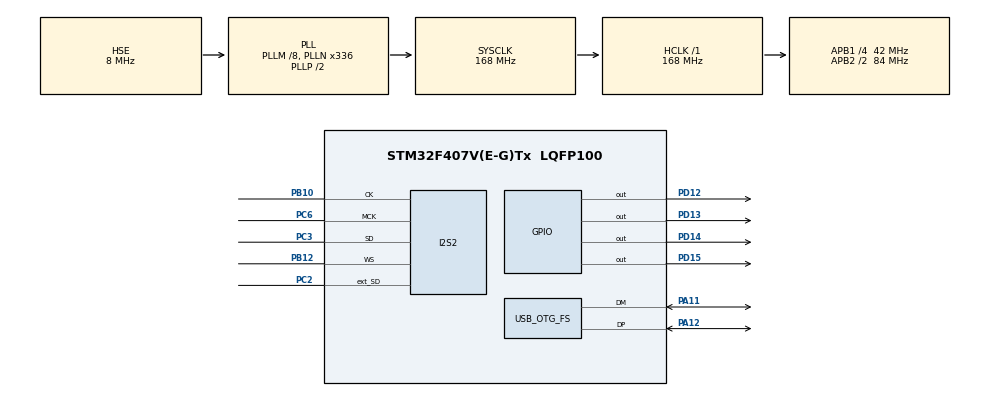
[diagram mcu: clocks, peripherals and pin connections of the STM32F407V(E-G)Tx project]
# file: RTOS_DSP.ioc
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Dma.I2S2_EXT_RX.0.Direction=DMA_PERIPH_TO_MEMORY
Dma.I2S2_EXT_RX.0.FIFOMode=DMA_FIFOMODE_DISABLE
Dma.I2S2_EXT_RX.0.Instance=DMA1_Stream3
Dma.I2S2_EXT_RX.0.MemDataAlignment=DMA_MDATAALIGN_HALFWORD
Dma.I2S2_EXT_RX.0.MemInc=DMA_MINC_ENABLE
Dma.I2S2_EXT_RX.0.Mode=DMA_CIRCULAR
Dma.I2S2_EXT_RX.0.PeriphDataAlignment=DMA_PDATAALIGN_HALFWORD
Dma.I2S2_EXT_RX.0.PeriphInc=DMA_PINC_DISABLE
Dma.I2S2_EXT_RX.0.Priority=DMA_PRIORITY_VERY_HIGH
Dma.MEMTOMEM.2.Direction=DMA_MEMORY_TO_MEMORY
Dma.MEMTOMEM.2.FIFOMode=DMA_FIFOMODE_ENABLE
Dma.MEMTOMEM.2.FIFOThreshold=DMA_FIFO_THRESHOLD_FULL
Dma.MEMTOMEM.2.Instance=DMA2_Stream0
Dma.MEMTOMEM.2.MemBurst=DMA_MBURST_SINGLE
Dma.MEMTOMEM.2.MemDataAlignment=DMA_MDATAALIGN_BYTE
Dma.MEMTOMEM.2.MemInc=DMA_MINC_ENABLE
Dma.MEMTOMEM.2.Mode=DMA_NORMAL
Dma.MEMTOMEM.2.PeriphBurst=DMA_PBURST_SINGLE
Dma.MEMTOMEM.2.PeriphDataAlignment=DMA_PDATAALIGN_BYTE
Dma.MEMTOMEM.2.PeriphInc=DMA_PINC_ENABLE
Dma.MEMTOMEM.2.Priority=DMA_PRIORITY_MEDIUM
Dma.Request0=I2S2_EXT_RX
Dma.Request1=SPI2_TX
Dma.Request2=MEMTOMEM
Dma.SPI2_TX.1.Direction=DMA_MEMORY_TO_PERIPH
Dma.SPI2_TX.1.FIFOMode=DMA_FIFOMODE_DISABLE
Dma.SPI2_TX.1.Instance=DMA1_Stream4
Dma.SPI2_TX.1.MemDataAlignment=DMA_MDATAALIGN_HALFWORD
Dma.SPI2_TX.1.MemInc=DMA_MINC_ENABLE
Dma.SPI2_TX.1.Mode=DMA_CIRCULAR
Dma.SPI2_TX.1.PeriphDataAlignment=DMA_PDATAALIGN_HALFWORD
Dma.SPI2_TX.1.PeriphInc=DMA_PINC_DISABLE
Dma.SPI2_TX.1.Priority=DMA_PRIORITY_VERY_HIGH
FREERTOS.Mutexes01=CDC_TxMutex,Dynamic,NULL;CDC_RxMutex,Dynamic,NULL
FREERTOS.Tasks01=SER_UI_task,24,1024,TASK_SER_UI,Default,NULL,Dynamic,NULL,NULL;AP_task,24,1024,TASK_AP,Default,NULL,Dynamic,NULL,NULL
FREERTOS.configENABLE_FPU=1
FREERTOS.configLIBRARY_MAX_SYSCALL_INTERRUPT_PRIORITY=10
FREERTOS.configMAX_TASK_NAME_LEN=16
FREERTOS.configMINIMAL_STACK_SIZE=128
FREERTOS.configQUEUE_REGISTRY_SIZE=8
FREERTOS.configTOTAL_HEAP_SIZE=15360
FREERTOS.configUSE_NEWLIB_REENTRANT=1
I2S2.AudioFreq=I2S_AUDIOFREQ_96K
I2S2.DataFormat=I2S_DATAFORMAT_24B
I2S2.ErrorAudioFreq=-2.34 %
I2S2.FullDuplexMode=I2S_FULLDUPLEXMODE_ENABLE
I2S2.Instance=SPI$Index
I2S2.RealAudioFreq=93.75 KHz
I2S2.VirtualMode=I2S_MODE_MASTER
Mcu.Family=STM32F4
Mcu.Name=STM32F407V(E-G)Tx
Mcu.Package=LQFP100
NVIC.DMA1_Stream3_IRQn=true\:10\:0\:true\:false\:true\:true\:true\:true\:true
NVIC.DMA1_Stream4_IRQn=true\:10\:0\:false\:false\:true\:true\:true\:true\:true
NVIC.OTG_FS_IRQn=true\:10\:0\:true\:false\:true\:true\:false\:true\:true
NVIC.PriorityGroup=NVIC_PRIORITYGROUP_4
NVIC.SPI2_IRQn=true\:10\:0\:false\:false\:true\:true\:true\:true\:true
NVIC.TIM6_DAC_IRQn=true\:0\:0\:false\:false\:true\:false\:false\:true\:true
NVIC.TimeBase=TIM6_DAC_IRQn
NVIC.TimeBaseIP=TIM6
PA11.Mode=Device_Only
PA11.Signal=USB_OTG_FS_DM
PA12.Mode=Device_Only
PA12.Signal=USB_OTG_FS_DP
PA13.Mode=Serial_Wire
PA13.Signal=SYS_JTMS-SWDIO
PA14.Mode=Serial_Wire
PA14.Signal=SYS_JTCK-SWCLK
PB10.Mode=Full_Duplex_Master
PB10.Signal=I2S2_CK
PB12.Mode=Full_Duplex_Master
PB12.Signal=I2S2_WS
PC2.Mode=Full_Duplex_Master
PC2.Signal=I2S2_ext_SD
PC3.Mode=Full_Duplex_Master
PC3.Signal=I2S2_SD
PC6.Mode=Master_Clock_Activated
PC6.Signal=I2S2_MCK
PD12.Signal=GPIO_Output
PD13.Signal=GPIO_Output
PD14.Signal=GPIO_Output
PD15.Signal=GPIO_Output
PH0-OSC_IN.Mode=HSE-External-Oscillator
PH0-OSC_IN.Signal=RCC_OSC_IN
PH1-OSC_OUT.Mode=HSE-External-Oscillator
PH1-OSC_OUT.Signal=RCC_OSC_OUT
ProjectManager.HeapSize=0x200
ProjectManager.StackSize=0x400
ProjectManager.TargetToolchain=STM32CubeIDE
RCC.48MHZClocksFreq_Value=48000000
RCC.AHBFreq_Value=168000000
RCC.APB1CLKDivider=RCC_HCLK_DIV4
RCC.APB1Freq_Value=42000000
RCC.APB1TimFreq_Value=84000000
RCC.APB2CLKDivider=RCC_HCLK_DIV2
RCC.APB2Freq_Value=84000000
RCC.APB2TimFreq_Value=168000000
RCC.CortexFreq_Value=168000000
RCC.HCLKFreq_Value=168000000
RCC.HSE_VALUE=8000000
RCC.HSI_VALUE=16000000
RCC.LSE_VALUE=32768
RCC.PLLM=8
RCC.PLLN=336
RCC.PLLQ=7
RCC.SYSCLKFreq_VALUE=168000000
RCC.SYSCLKSource=RCC_SYSCLKSOURCE_PLLCLK
RCC.VCOOutputFreq_Value=336000000
USB_DEVICE.APP_RX_DATA_SIZE-CDC_FS=256
USB_DEVICE.APP_TX_DATA_SIZE-CDC_FS=256
USB_DEVICE.CLASS_NAME_FS=CDC
USB_DEVICE.USBD_SELF_POWERED-CDC_FS=1
USB_DEVICE.VirtualMode-CDC_FS=Cdc
USB_DEVICE.VirtualModeFS=Cdc_FS
USB_OTG_FS.VirtualMode=Device_Only
VP_FREERTOS_VS_CMSIS_V2.Mode=CMSIS_V2
VP_SYS_VS_tim6.Mode=TIM6
VP_USB_DEVICE_VS_USB_DEVICE_CDC_FS.Mode=CDC_FS
board=custom

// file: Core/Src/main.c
/* USER CODE BEGIN Header */
/**
  ******************************************************************************
  * @file           : main.c
  * @brief          : Main program body
  ******************************************************************************
  * @attention
  *
  * <h2><center>&copy; Copyright (c) 2021 STMicroelectronics.
  * All rights reserved.</center></h2>
  *
  * This software component is licensed by ST under BSD 3-Clause license,
  * the "License"; You may not use this file except in compliance with the
  * License. You may obtain a copy of the License at:
  *                        opensource.org/licenses/BSD-3-Clause
  *
  ******************************************************************************
  */
/* USER CODE END Header */
#include "main.h"
#include "cmsis_os.h"
#include "usb_device.h"

/* USER CODE BEGIN Includes */
#include "usbd_cdc_if.h"
#include "pmodI2S2.h"
#include <string.h>
#include <stdint.h>
#include <stdlib.h>
#include <queue.h>
#include <semphr.h>
#include <serial_com.h>
#include "audio_proc.h"
/* USER CODE END Includes */

 I2S_HandleTypeDef hi2s2;
DMA_HandleTypeDef hdma_i2s2_ext_rx;
DMA_HandleTypeDef hdma_spi2_tx;

DMA_HandleTypeDef hdma_memtomem_dma2_stream0;
/* Definitions for SER_UI_task */
osThreadId_t SER_UI_taskHandle;
const osThreadAttr_t SER_UI_task_attributes = {
  .name = "SER_UI_task",
  .stack_size = 1024 * 4,
  .priority = (osPriority_t) osPriorityNormal,
};
/* Definitions for AP_task */
osThreadId_t AP_taskHandle;
const osThreadAttr_t AP_task_attributes = {
  .name = "AP_task",
  .stack_size = 1024 * 4,
  .priority = (osPriority_t) osPriorityNormal,
};
/* Definitions for CDC_TxMutex */
osMutexId_t CDC_TxMutexHandle;
const osMutexAttr_t CDC_TxMutex_attributes = {
  .name = "CDC_TxMutex"
};
/* Definitions for CDC_RxMutex */
osMutexId_t CDC_RxMutexHandle;
const osMutexAttr_t CDC_RxMutex_attributes = {
  .name = "CDC_RxMutex"
};
/* USER CODE BEGIN PV */
uint16_t I2S2_txBuf[I2S2_BUFLEN]; 					// I2S2 rxBuffer for PmodI2S2
uint16_t I2S2_rxBuf[I2S2_BUFLEN]; 					// I2S2 txBuffer for PmodI2S2
/* USER CODE END PV */

void SystemClock_Config(void);
static void MX_GPIO_Init(void);
static void MX_DMA_Init(void);
static void MX_I2S2_Init(void);
void TASK_SER_UI(void *argument);
void TASK_AP(void *argument);

int main(void)
{

  /* MCU Configuration--------------------------------------------------------*/

  /* Reset of all peripherals, Initializes the Flash interface and the Systick. */
  HAL_Init();

  /* Configure the system clock */
  SystemClock_Config();

  /* Initialize all configured peripherals */
  MX_GPIO_Init();
  MX_DMA_Init();
  MX_I2S2_Init();
  /* USER CODE BEGIN 2 */
  HAL_I2SEx_TransmitReceive_DMA(&hi2s2, I2S2_txBuf, I2S2_rxBuf, I2S2_BUFLEN/2);
  /* USER CODE END 2 */

  /* Init scheduler */
  osKernelInitialize();
  /* Create the mutex(es) */
  /* creation of CDC_TxMutex */
  CDC_TxMutexHandle = osMutexNew(&CDC_TxMutex_attributes);

  /* creation of CDC_RxMutex */
  CDC_RxMutexHandle = osMutexNew(&CDC_RxMutex_attributes);

  /* Create the thread(s) */
  /* creation of SER_UI_task */
  SER_UI_taskHandle = osThreadNew(TASK_SER_UI, NULL, &SER_UI_task_attributes);

  /* creation of AP_task */
  AP_taskHandle = osThreadNew(TASK_AP, NULL, &AP_task_attributes);

  /* Start scheduler */
  osKernelStart();

  /* We should never get here as control is now taken by the scheduler */
  /* Infinite loop */
  while (1)
  {

  }
}

void SystemClock_Config(void)
{
  RCC_OscInitTypeDef RCC_OscInitStruct = {0};
  RCC_ClkInitTypeDef RCC_ClkInitStruct = {0};

  /** Configure the main internal regulator output voltage
  */
  __HAL_RCC_PWR_CLK_ENABLE();
  __HAL_PWR_VOLTAGESCALING_CONFIG(PWR_REGULATOR_VOLTAGE_SCALE1);

  /** Initializes the RCC Oscillators according to the specified parameters
  * in the RCC_OscInitTypeDef structure.
  */
  RCC_OscInitStruct.OscillatorType = RCC_OSCILLATORTYPE_HSE;
  RCC_OscInitStruct.HSEState = RCC_HSE_ON;
  RCC_OscInitStruct.PLL.PLLState = RCC_PLL_ON;
  RCC_OscInitStruct.PLL.PLLSource = RCC_PLLSOURCE_HSE;
  RCC_OscInitStruct.PLL.PLLM = 8;
  RCC_OscInitStruct.PLL.PLLN = 336;
  RCC_OscInitStruct.PLL.PLLP = RCC_PLLP_DIV2;
  RCC_OscInitStruct.PLL.PLLQ = 7;
  if (HAL_RCC_OscConfig(&RCC_OscInitStruct) != HAL_OK)
  {
    Error_Handler();
  }

  /** Initializes the CPU, AHB and APB buses clocks
  */
  RCC_ClkInitStruct.ClockType = RCC_CLOCKTYPE_HCLK|RCC_CLOCKTYPE_SYSCLK
                              |RCC_CLOCKTYPE_PCLK1|RCC_CLOCKTYPE_PCLK2;
  RCC_ClkInitStruct.SYSCLKSource = RCC_SYSCLKSOURCE_PLLCLK;
  RCC_ClkInitStruct.AHBCLKDivider = RCC_SYSCLK_DIV1;
  RCC_ClkInitStruct.APB1CLKDivider = RCC_HCLK_DIV4;
  RCC_ClkInitStruct.APB2CLKDivider = RCC_HCLK_DIV2;

  if (HAL_RCC_ClockConfig(&RCC_ClkInitStruct, FLASH_LATENCY_5) != HAL_OK)
  {
    Error_Handler();
  }
}

static void MX_I2S2_Init(void)
{

  hi2s2.Instance = SPI2;
  hi2s2.Init.Mode = I2S_MODE_MASTER_TX;
  hi2s2.Init.Standard = I2S_STANDARD_PHILIPS;
  hi2s2.Init.DataFormat = I2S_DATAFORMAT_24B;
  hi2s2.Init.MCLKOutput = I2S_MCLKOUTPUT_ENABLE;
  hi2s2.Init.AudioFreq = I2S_AUDIOFREQ_96K;
  hi2s2.Init.CPOL = I2S_CPOL_LOW;
  hi2s2.Init.ClockSource = I2S_CLOCK_PLL;
  hi2s2.Init.FullDuplexMode = I2S_FULLDUPLEXMODE_ENABLE;
  if (HAL_I2S_Init(&hi2s2) != HAL_OK)
  {
    Error_Handler();
  }

}

static void MX_DMA_Init(void)
{

  /* DMA controller clock enable */
  __HAL_RCC_DMA1_CLK_ENABLE();
  __HAL_RCC_DMA2_CLK_ENABLE();

  /* Configure DMA request hdma_memtomem_dma2_stream0 on DMA2_Stream0 */
  hdma_memtomem_dma2_stream0.Instance = DMA2_Stream0;
  hdma_memtomem_dma2_stream0.Init.Channel = DMA_CHANNEL_0;
  hdma_memtomem_dma2_stream0.Init.Direction = DMA_MEMORY_TO_MEMORY;
  hdma_memtomem_dma2_stream0.Init.PeriphInc = DMA_PINC_ENABLE;
  hdma_memtomem_dma2_stream0.Init.MemInc = DMA_MINC_ENABLE;
  hdma_memtomem_dma2_stream0.Init.PeriphDataAlignment = DMA_PDATAALIGN_BYTE;
  hdma_memtomem_dma2_stream0.Init.MemDataAlignment = DMA_MDATAALIGN_BYTE;
  hdma_memtomem_dma2_stream0.Init.Mode = DMA_NORMAL;
  hdma_memtomem_dma2_stream0.Init.Priority = DMA_PRIORITY_MEDIUM;
  hdma_memtomem_dma2_stream0.Init.FIFOMode = DMA_FIFOMODE_ENABLE;
  hdma_memtomem_dma2_stream0.Init.FIFOThreshold = DMA_FIFO_THRESHOLD_FULL;
  hdma_memtomem_dma2_stream0.Init.MemBurst = DMA_MBURST_SINGLE;
  hdma_memtomem_dma2_stream0.Init.PeriphBurst = DMA_PBURST_SINGLE;
  if (HAL_DMA_Init(&hdma_memtomem_dma2_stream0) != HAL_OK)
  {
    Error_Handler( );
  }

  /* DMA interrupt init */
  /* DMA1_Stream3_IRQn interrupt configuration */
  HAL_NVIC_SetPriority(DMA1_Stream3_IRQn, 10, 0);
  HAL_NVIC_EnableIRQ(DMA1_Stream3_IRQn);
  /* DMA1_Stream4_IRQn interrupt configuration */
  HAL_NVIC_SetPriority(DMA1_Stream4_IRQn, 10, 0);
  HAL_NVIC_EnableIRQ(DMA1_Stream4_IRQn);

}

static void MX_GPIO_Init(void)
{
  GPIO_InitTypeDef GPIO_InitStruct = {0};

  /* GPIO Ports Clock Enable */
  __HAL_RCC_GPIOH_CLK_ENABLE();
  __HAL_RCC_GPIOC_CLK_ENABLE();
  __HAL_RCC_GPIOB_CLK_ENABLE();
  __HAL_RCC_GPIOD_CLK_ENABLE();
  __HAL_RCC_GPIOA_CLK_ENABLE();

  /*Configure GPIO pin Output Level */
  HAL_GPIO_WritePin(GPIOD, GPIO_PIN_12|GPIO_PIN_13|GPIO_PIN_14|GPIO_PIN_15, GPIO_PIN_RESET);

  /*Configure GPIO pins : PD12 PD13 PD14 PD15 */
  GPIO_InitStruct.Pin = GPIO_PIN_12|GPIO_PIN_13|GPIO_PIN_14|GPIO_PIN_15;
  GPIO_InitStruct.Mode = GPIO_MODE_OUTPUT_PP;
  GPIO_InitStruct.Pull = GPIO_NOPULL;
  GPIO_InitStruct.Speed = GPIO_SPEED_FREQ_LOW;
  HAL_GPIO_Init(GPIOD, &GPIO_InitStruct);

}

/* USER CODE BEGIN Header_TASK_SER_UI */
/**
  * @brief  Function implementing the UI_task thread.
  * @param  argument: Not used
  * @retval None
  */
extern const SER_cmdStruct cmdStructTab[N_CMD];
extern _Bool HOST_PORT_COM_OPEN;
/* USER CODE END Header_TASK_SER_UI */
void TASK_SER_UI(void *argument)
{
  /* init code for USB_DEVICE */
  MX_USB_DEVICE_Init();
  /* USER CODE BEGIN 5 */
  uint32_t cmd;
  char args[64];

  osDelay(1000);
  SER_clear();
  _printf("\r\n               ####################\r\n");
  _printf("               ## RTOS DSP v%d.%02d ##\r\n", MAJ_VERSION, MIN_VERSION);
  _printf("               ####################\r\n\n");

  /* Infinite loop */
  _printd("TASK_SER_UI started.\r\n");
  for(;;)
  {
		/* Wait until port com is open */
	  	while(!HOST_PORT_COM_OPEN)
	  	{
	  		HAL_GPIO_WritePin(GPIOD, GPIO_PIN_15, GPIO_PIN_RESET);
	  		osDelay(500);
	  	}

	  	/* Check for command and flush */
	  	if((cmd = SER_getCmd(cmdStructTab, N_CMD, args)) != N_CMD)
	  	{	cmdStructTab[cmd].ExecFunction(args);
	  	}
	  	SER_flush();

	  	HAL_GPIO_WritePin(GPIOD, GPIO_PIN_15, GPIO_PIN_SET);
  }

  /* Exit Task */
  _printd("/!\\ Killing TASK_SER_UI !\r\n");
  osThreadTerminate(NULL);

  /* USER CODE END 5 */
}

/* USER CODE BEGIN Header_TASK_AP */
/**
* @brief Function implementing the AP_task thread.
* @param argument: Not used
* @retval None
*/
extern const uint8_t (*ExecAudioProcessing[AP_NTASK])(void);
/* USER CODE END Header_TASK_AP */
void TASK_AP(void *argument)
{
  /* USER CODE BEGIN TASK_AP */
	osDelay(1500);
	AP_initTask();

  /* Infinite loop */
	_printd("TASK_AP started.\r\n");
	for(;;)
	{
		ExecAudioProcessing[AP_getTask()]();
		HAL_GPIO_TogglePin(GPIOD, GPIO_PIN_12);
	}

	/* Exit Task */
	_printd("/!\\ Killing TASK_AP !\r\n");
	osThreadTerminate(NULL);
  /* USER CODE END TASK_AP */
}

void HAL_TIM_PeriodElapsedCallback(TIM_HandleTypeDef *htim)
{
  if (htim->Instance == TIM6) {
    HAL_IncTick();
  }
}

void Error_Handler(void)
{
  /* USER CODE BEGIN Error_Handler_Debug */
  /* User can add his own implementation to report the HAL error return state */
  HAL_GPIO_WritePin(GPIOD, GPIO_PIN_14, GPIO_PIN_SET);
  _printf("/!\\ FATAL ERROR !\r\n");
  __disable_irq();
  while (1)
  {
  }
  /* USER CODE END Error_Handler_Debug */
}
